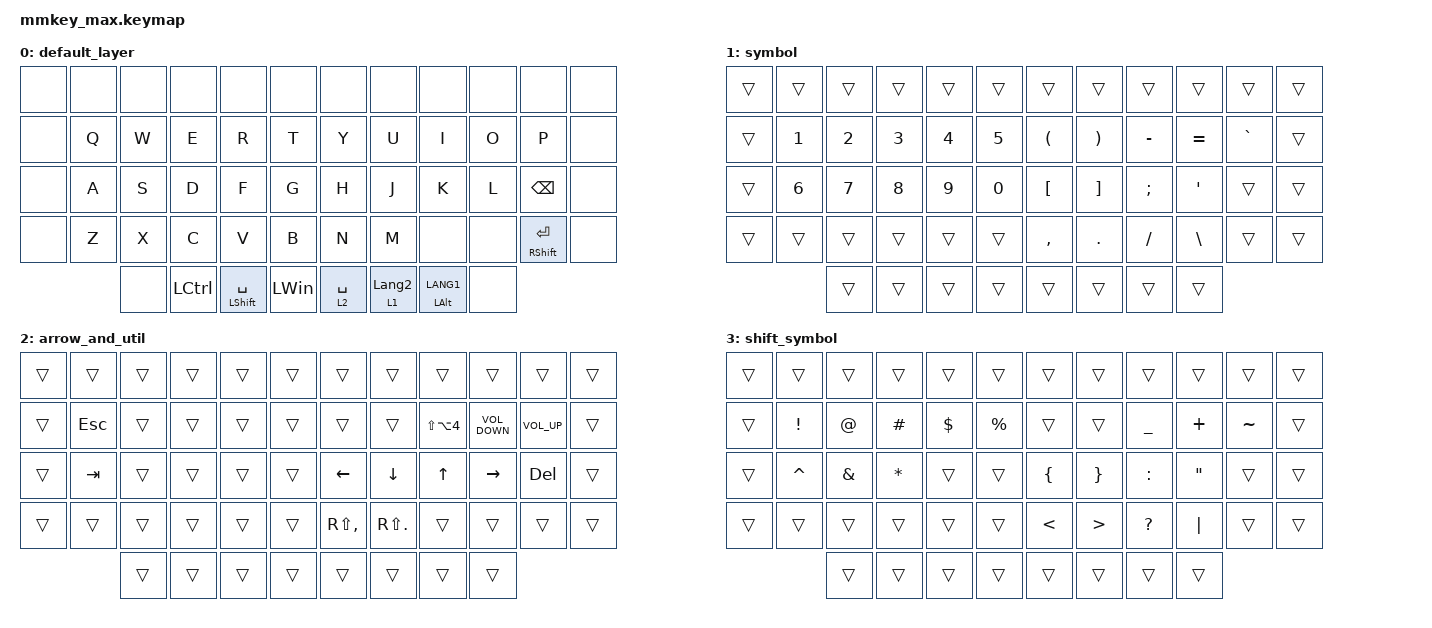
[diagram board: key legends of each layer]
#include <input/processors.dtsi>
#include <dt-bindings/zmk/input_transform.h>
#include <zephyr/dt-bindings/input/input-event-codes.h>
#include <behaviors.dtsi>
#include <dt-bindings/zmk/keys.h>

//#define ZMK_POINTING_DEFAULT_SCRL_VAL 100

#define MOUSE 5

&mt {
    flavor = "balanced";
    quick-tap-ms = <0>;
};

/ {
    combos {
        compatible = "zmk,combos";

        boot_left {
            bindings = <&bootloader>;
            key-positions = <13 51>;
        };

        boot_right {
            bindings = <&bootloader>;
            key-positions = <52 22>;
        };

        tab {
            bindings = <&kp TAB>;
            key-positions = <13 15>;
        };

        esc {
            bindings = <&kp ESCAPE>;
            key-positions = <13 14>;
        };
    };

    macros {
        to_layer_0: to_layer_0 {
            compatible = "zmk,behavior-macro-one-param";
            #binding-cells = <1>;
            bindings = <&macro_param_1to1 &kp MACRO_PLACEHOLDER &to 0>;
            label = "TO_LAYER_0";
        };
    };

    behaviors {
        lt_to_layer_0: lt_to_layer_0 {
            compatible = "zmk,behavior-hold-tap";
            label = "LAYER_TAP_TO_0";
            bindings = <&mo>, <&to_layer_0>;

            #binding-cells = <2>;
            tapping-term-ms = <200>;
        };
    };

    keymap {
        compatible = "zmk,keymap";

        default_layer {
            bindings = <
&none  &none  &none  &none      &none             &none       &none        &none             &none           &none  &none             &none
&none  &kp Q  &kp W  &kp E      &kp R             &kp T       &kp Y        &kp U             &kp I           &kp O  &kp P             &none
&none  &kp A  &kp S  &kp D      &kp F             &kp G       &kp H        &kp J             &kp K           &kp L  &kp BACKSPACE     &none
&none  &kp Z  &kp X  &kp C      &kp V             &kp B       &kp N        &kp M             &none           &none  &mt RSHIFT ENTER  &none
              &none  &kp LCTRL  &mt LSHIFT SPACE  &kp LWIN    &lt 2 SPACE  &lt 1 LANGUAGE_2  &mt LALT LANG1  &none
            >;
        };

        symbol {
            bindings = <
&trans  &trans        &trans        &trans        &trans        &trans    &trans                &trans                 &trans         &trans            &trans     &trans
&trans  &kp NUMBER_1  &kp NUMBER_2  &kp NUMBER_3  &kp NUMBER_4  &kp N5    &kp LEFT_PARENTHESIS  &kp RIGHT_PARENTHESIS  &kp MINUS      &kp EQUAL         &kp GRAVE  &trans
&trans  &kp NUMBER_6  &kp N7        &kp N8        &kp N9        &kp N0    &kp LEFT_BRACKET      &kp RIGHT_BRACKET      &kp SEMICOLON  &kp SINGLE_QUOTE  &trans     &trans
&trans  &trans        &trans        &trans        &trans        &trans    &kp COMMA             &kp PERIOD             &kp SLASH      &kp BACKSLASH     &trans     &trans
                      &trans        &trans        &trans        &trans    &trans                &trans                 &trans         &trans
            >;
        };

        arrow_and_util {
            bindings = <
&trans  &trans      &trans  &trans  &trans  &trans    &trans         &trans          &trans                &trans             &trans        &trans
&trans  &kp ESCAPE  &trans  &trans  &trans  &trans    &trans         &trans          &kp LS(LA(NUMBER_4))  &kp C_VOLUME_DOWN  &kp C_VOL_UP  &trans
&trans  &kp TAB     &trans  &trans  &trans  &trans    &kp LEFT       &kp DOWN        &kp UP_ARROW          &kp RIGHT          &kp DELETE    &trans
&trans  &trans      &trans  &trans  &trans  &trans    &kp RS(COMMA)  &kp RS(PERIOD)  &trans                &trans             &trans        &trans
                    &trans  &trans  &trans  &trans    &trans         &trans          &trans                &trans
            >;
        };

        shift_symbol {
            bindings = <
&trans  &trans           &trans         &trans        &trans      &trans         &trans          &trans            &trans          &trans             &trans     &trans
&trans  &kp EXCLAMATION  &kp AT         &kp HASH      &kp DOLLAR  &kp PERCENT    &trans          &trans            &kp UNDERSCORE  &kp PLUS           &kp TILDE  &trans
&trans  &kp CARET        &kp AMPERSAND  &kp ASTERISK  &trans      &trans         &kp LEFT_BRACE  &kp RIGHT_BRACE   &kp COLON       &kp DOUBLE_QUOTES  &trans     &trans
&trans  &trans           &trans         &trans        &trans      &trans         &kp LESS_THAN   &kp GREATER_THAN  &kp QUESTION    &kp PIPE           &trans     &trans
                         &trans         &trans        &trans      &trans         &trans          &trans            &trans          &trans
            >;
        };
    };

    conditional_layers {
        compatible = "zmk,conditional-layers";

        extra {
            if-layers = <1 2>;
            then-layer = <3>;
        };
    };
};
